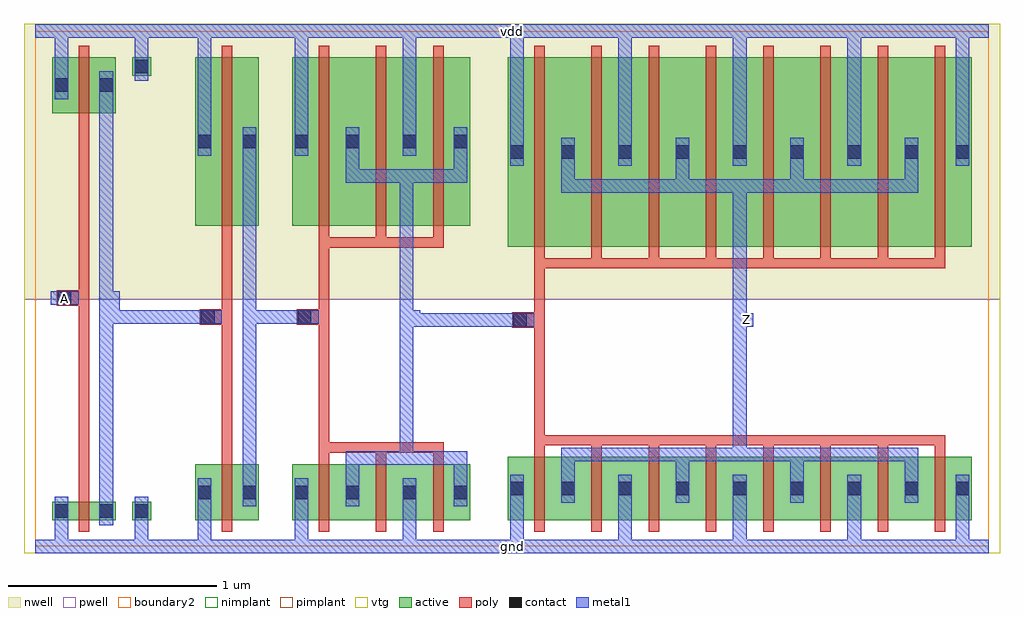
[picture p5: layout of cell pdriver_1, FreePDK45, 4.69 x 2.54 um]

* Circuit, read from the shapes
.subckt pdriver_1 A Z gnd vdd
M1 pinv_7_1/A A gnd gnd nfet w=0.09u l=0.05u
M2 pinv_8_2/A pinv_7_1/A gnd gnd nfet w=0.27u l=0.05u
M3 pinv_9_3/A pinv_8_2/A gnd gnd nfet w=0.27u l=0.05u m=3
M4 Z pinv_9_3/A gnd gnd nfet w=0.305u l=0.05u m=8
M5 pinv_7_1/A A vdd vdd pfet w=0.27u l=0.05u
M6 pinv_8_2/A pinv_7_1/A vdd vdd pfet w=0.81u l=0.05u
M7 pinv_9_3/A pinv_8_2/A vdd vdd pfet w=0.81u l=0.05u m=3
M8 Z pinv_9_3/A vdd vdd pfet w=0.91u l=0.05u m=8
.ends

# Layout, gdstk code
import gdstk
lib = gdstk.Library(unit=1e-6, precision=5e-10)
def R(c, l, rs):  # rectangles x0, y0, x1, y1
    for r in rs: c.add(gdstk.rectangle(r[:2], r[2:], *l))
def A(c, l, x, y, w, h, nx, ny, dx, dy):  # array of equal rectangles
    R(c, l, [(x+i*dx, y+j*dy, x+i*dx+w, y+j*dy+h) for i in range(nx) for j in range(ny)])
active = (1, 0)
pwell = (2, 0)
nwell = (3, 0)
nimplant = (4, 0)
pimplant = (5, 0)
vtg = (6, 0)
poly = (9, 0)
contact = (10, 0)
metal1 = (11, 0)
boundary2 = (239, 0)

contact_9 = lib.new_cell('contact_9')
R(contact_9, active, [(0,0.0225,0.09,0.1125)])
R(contact_9, nwell, [(-0.055,-0.0325,0.145,0.1675)])
R(contact_9, pimplant, [(0,0.0225,0.09,0.1125)])
R(contact_9, contact, [(0.0125,0.035,0.0775,0.1)])
R(contact_9, metal1, [(0.0125,0,0.0775,0.135)])
R(contact_9, boundary2, [(-0.055,-0.0325,0.145,0.1675)])

pmos_m1_w0_270_sm1_dm1_d = lib.new_cell('pmos_m1_w0_270_sm1_dm1_da_p')
R(pmos_m1_w0_270_sm1_dm1_d, active, [(0,0,0.305,0.27)])
R(pmos_m1_w0_270_sm1_dm1_d, nwell, [(-0.08,-0.08,0.385,0.35)])
R(pmos_m1_w0_270_sm1_dm1_d, pimplant, [(0,0,0.305,0.27)])
R(pmos_m1_w0_270_sm1_dm1_d, vtg, [(-0.08,-0.08,0.385,0.35)])
R(pmos_m1_w0_270_sm1_dm1_d, poly, [(0.1275,-0.055,0.1775,0.325), (0.1275,-0.055,0.1775,0.325)])
R(pmos_m1_w0_270_sm1_dm1_d, metal1, [(0.0125,0.0675,0.0775,0.2025), (0.2275,0.0675,0.2925,0.2025)])
R(pmos_m1_w0_270_sm1_dm1_d, boundary2, [(-0.08,-0.08,0.385,0.35)])
pmos_m1_w0_270_sm1_dm1_d.add(gdstk.Reference(contact_9, (0,0.0675)))
pmos_m1_w0_270_sm1_dm1_d.add(gdstk.Reference(contact_9, (0.215,0.0675)))
pmos_m1_w0_270_sm1_dm1_d.add(gdstk.Label('G', (0.1525,0.135), layer=9, texttype=0))
pmos_m1_w0_270_sm1_dm1_d.add(gdstk.Label('S', (0.045,0.135), layer=11, texttype=0))
pmos_m1_w0_270_sm1_dm1_d.add(gdstk.Label('D', (0.26,0.135), layer=11, texttype=0))

contact_14 = lib.new_cell('contact_14')
R(contact_14, active, [(0,0.0225,0.09,0.1125)])
R(contact_14, pwell, [(-0.055,-0.0325,0.145,0.1675)])
R(contact_14, nimplant, [(0,0.0225,0.09,0.1125)])
R(contact_14, contact, [(0.0125,0.035,0.0775,0.1)])
R(contact_14, metal1, [(0.0125,0,0.0775,0.135)])
R(contact_14, boundary2, [(-0.055,-0.0325,0.145,0.1675)])

nmos_m1_w0_090_sm1_dm1_d = lib.new_cell('nmos_m1_w0_090_sm1_dm1_da_p')
R(nmos_m1_w0_090_sm1_dm1_d, active, [(0,0,0.305,0.09)])
R(nmos_m1_w0_090_sm1_dm1_d, pwell, [(-0.08,-0.08,0.385,0.17)])
R(nmos_m1_w0_090_sm1_dm1_d, nimplant, [(0,0,0.305,0.09)])
R(nmos_m1_w0_090_sm1_dm1_d, vtg, [(-0.08,-0.08,0.385,0.17)])
R(nmos_m1_w0_090_sm1_dm1_d, poly, [(0.1275,-0.055,0.1775,0.145), (0.1275,-0.055,0.1775,0.145)])
R(nmos_m1_w0_090_sm1_dm1_d, metal1, [(0.0125,-0.0225,0.0775,0.1125), (0.2275,-0.0225,0.2925,0.1125)])
R(nmos_m1_w0_090_sm1_dm1_d, boundary2, [(-0.08,-0.08,0.385,0.17)])
nmos_m1_w0_090_sm1_dm1_d.add(gdstk.Reference(contact_14, (0,-0.0225)))
nmos_m1_w0_090_sm1_dm1_d.add(gdstk.Reference(contact_14, (0.215,-0.0225)))
nmos_m1_w0_090_sm1_dm1_d.add(gdstk.Label('G', (0.1525,0.045), layer=9, texttype=0))
nmos_m1_w0_090_sm1_dm1_d.add(gdstk.Label('S', (0.045,0.045), layer=11, texttype=0))
nmos_m1_w0_090_sm1_dm1_d.add(gdstk.Label('D', (0.26,0.045), layer=11, texttype=0))

contact_18 = lib.new_cell('contact_18')
R(contact_18, active, [(0,0.0225,0.09,0.1125)])
R(contact_18, nwell, [(-0.055,-0.0325,0.145,0.1675)])
R(contact_18, nimplant, [(0,0.0225,0.09,0.1125)])
R(contact_18, contact, [(0.0125,0.035,0.0775,0.1)])
R(contact_18, metal1, [(0.0125,0,0.0775,0.135)])
R(contact_18, boundary2, [(-0.055,-0.0325,0.145,0.1675)])

contact_19 = lib.new_cell('contact_19')
R(contact_19, active, [(0,0.0225,0.09,0.1125)])
R(contact_19, pwell, [(-0.055,-0.0325,0.145,0.1675)])
R(contact_19, pimplant, [(0,0.0225,0.09,0.1125)])
R(contact_19, contact, [(0.0125,0.035,0.0775,0.1)])
R(contact_19, metal1, [(0.0125,0,0.0775,0.135)])
R(contact_19, boundary2, [(-0.055,-0.0325,0.145,0.1675)])

contact_10 = lib.new_cell('contact_10')
R(contact_10, poly, [(0.03,0,0.105,0.075)])
R(contact_10, contact, [(0.035,0.005,0.1,0.07)])
R(contact_10, metal1, [(0,0.005,0.135,0.07)])
R(contact_10, boundary2, [(0,0,0.135,0.075)])

pinv_1 = lib.new_cell('pinv_1')
R(pinv_1, pwell, [(-0.055,-0.0325,0.7425,1.1875)])
R(pinv_1, nwell, [(-0.055,1.1875,0.7425,2.51)])
R(pinv_1, vtg, [(-0.055,-0.0325,0.7425,1.1875), (-0.055,1.1875,0.7425,2.51)])
R(pinv_1, poly, [(0.2075,0.27,0.2575,2.025), (0.14,1.155,0.2075,1.23)])
R(pinv_1, metal1, [(0,-0.0325,0.6875,0.0325), (0.0925,-0.0325,0.1575,0.1025), (0.4775,0,0.5425,0.17), (0.3075,0.1025,0.3725,2.2825), (0.0725,1.16,0.2075,1.225), (0.34,1.16,0.405,1.225), (0.0925,2.1475,0.1575,2.5075), (0.4775,2.305,0.5425,2.475), (0,2.4425,0.6875,2.5075)])
R(pinv_1, boundary2, [(0,0,0.6875,2.475), (0,0,0.6875,2.475)])
pinv_1.add(gdstk.Reference(pmos_m1_w0_270_sm1_dm1_d, (0.08,2.08)))
pinv_1.add(gdstk.Reference(nmos_m1_w0_090_sm1_dm1_d, (0.08,0.125)))
pinv_1.add(gdstk.Reference(contact_18, (0.465,2.2375)))
pinv_1.add(gdstk.Reference(contact_19, (0.465,0.1025)))
pinv_1.add(gdstk.Reference(contact_10, (0.0725,1.155)))
pinv_1.add(gdstk.Label('A', (0.14,1.1925), layer=11, texttype=0))
pinv_1.add(gdstk.Label('Z', (0.3725,1.1925), layer=11, texttype=0))
pinv_1.add(gdstk.Label('gnd', (0.344,0), layer=11, texttype=0))
pinv_1.add(gdstk.Label('vdd', (0.344,2.475), layer=11, texttype=0))

pmos_m1_w0_810_sm1_dm1_d = lib.new_cell('pmos_m1_w0_810_sm1_dm1_da_p')
R(pmos_m1_w0_810_sm1_dm1_d, active, [(0,0,0.305,0.81)])
R(pmos_m1_w0_810_sm1_dm1_d, nwell, [(-0.08,-0.08,0.385,0.89)])
R(pmos_m1_w0_810_sm1_dm1_d, pimplant, [(0,0,0.305,0.81)])
R(pmos_m1_w0_810_sm1_dm1_d, vtg, [(-0.08,-0.08,0.385,0.89)])
R(pmos_m1_w0_810_sm1_dm1_d, poly, [(0.1275,-0.055,0.1775,0.865), (0.1275,-0.055,0.1775,0.865)])
R(pmos_m1_w0_810_sm1_dm1_d, metal1, [(0.0125,0.3375,0.0775,0.4725), (0.2275,0.3375,0.2925,0.4725)])
R(pmos_m1_w0_810_sm1_dm1_d, boundary2, [(-0.08,-0.08,0.385,0.89)])
pmos_m1_w0_810_sm1_dm1_d.add(gdstk.Reference(contact_9, (0,0.3375)))
pmos_m1_w0_810_sm1_dm1_d.add(gdstk.Reference(contact_9, (0.215,0.3375)))
pmos_m1_w0_810_sm1_dm1_d.add(gdstk.Label('G', (0.1525,0.405), layer=9, texttype=0))
pmos_m1_w0_810_sm1_dm1_d.add(gdstk.Label('S', (0.045,0.405), layer=11, texttype=0))
pmos_m1_w0_810_sm1_dm1_d.add(gdstk.Label('D', (0.26,0.405), layer=11, texttype=0))

nmos_m1_w0_270_sm1_dm1_d = lib.new_cell('nmos_m1_w0_270_sm1_dm1_da_p')
R(nmos_m1_w0_270_sm1_dm1_d, active, [(0,0,0.305,0.27)])
R(nmos_m1_w0_270_sm1_dm1_d, pwell, [(-0.08,-0.08,0.385,0.35)])
R(nmos_m1_w0_270_sm1_dm1_d, nimplant, [(0,0,0.305,0.27)])
R(nmos_m1_w0_270_sm1_dm1_d, vtg, [(-0.08,-0.08,0.385,0.35)])
R(nmos_m1_w0_270_sm1_dm1_d, poly, [(0.1275,-0.055,0.1775,0.325), (0.1275,-0.055,0.1775,0.325)])
R(nmos_m1_w0_270_sm1_dm1_d, metal1, [(0.0125,0.0675,0.0775,0.2025), (0.2275,0.0675,0.2925,0.2025)])
R(nmos_m1_w0_270_sm1_dm1_d, boundary2, [(-0.08,-0.08,0.385,0.35)])
nmos_m1_w0_270_sm1_dm1_d.add(gdstk.Reference(contact_14, (0,0.0675)))
nmos_m1_w0_270_sm1_dm1_d.add(gdstk.Reference(contact_14, (0.215,0.0675)))
nmos_m1_w0_270_sm1_dm1_d.add(gdstk.Label('G', (0.1525,0.135), layer=9, texttype=0))
nmos_m1_w0_270_sm1_dm1_d.add(gdstk.Label('S', (0.045,0.135), layer=11, texttype=0))
nmos_m1_w0_270_sm1_dm1_d.add(gdstk.Label('D', (0.26,0.135), layer=11, texttype=0))

pinv_7 = lib.new_cell('pinv_7')
R(pinv_7, pwell, [(-0.055,-0.0325,0.52,1.1875)])
R(pinv_7, nwell, [(-0.055,1.1875,0.52,2.51)])
R(pinv_7, vtg, [(-0.055,-0.0325,0.52,1.1875), (-0.055,1.1875,0.52,2.51)])
R(pinv_7, poly, [(0.2075,0.45,0.2575,1.485), (0.14,1.065,0.2075,1.14)])
R(pinv_7, metal1, [(0,-0.0325,0.465,0.0325), (0.0925,-0.0325,0.1575,0.1925), (0.3075,0.1925,0.3725,2.0125), (0.0725,1.07,0.2075,1.135), (0.34,1.07,0.405,1.135), (0.0925,1.8775,0.1575,2.5075), (0,2.4425,0.465,2.5075)])
R(pinv_7, boundary2, [(0,0,0.465,2.475), (0,0,0.465,2.475)])
pinv_7.add(gdstk.Reference(pmos_m1_w0_810_sm1_dm1_d, (0.08,1.54)))
pinv_7.add(gdstk.Reference(nmos_m1_w0_270_sm1_dm1_d, (0.08,0.125)))
pinv_7.add(gdstk.Reference(contact_10, (0.0725,1.065)))
pinv_7.add(gdstk.Label('A', (0.14,1.1025), layer=11, texttype=0))
pinv_7.add(gdstk.Label('Z', (0.3725,1.1025), layer=11, texttype=0))
pinv_7.add(gdstk.Label('gnd', (0.2325,0), layer=11, texttype=0))
pinv_7.add(gdstk.Label('vdd', (0.2325,2.475), layer=11, texttype=0))

pmos_m3_w0_810_sm1_dm1_d = lib.new_cell('pmos_m3_w0_810_sm1_dm1_da_p')
R(pmos_m3_w0_810_sm1_dm1_d, active, [(0,0,0.855,0.81)])
R(pmos_m3_w0_810_sm1_dm1_d, nwell, [(-0.08,-0.08,0.935,0.89)])
R(pmos_m3_w0_810_sm1_dm1_d, pimplant, [(0,0,0.855,0.81)])
R(pmos_m3_w0_810_sm1_dm1_d, vtg, [(-0.08,-0.08,0.935,0.89)])
A(pmos_m3_w0_810_sm1_dm1_d, poly, 0.1275, -0.055, 0.05, 0.92, 3, 1, 0.275, 0)
R(pmos_m3_w0_810_sm1_dm1_d, poly, [(0.1275,-0.105,0.7275,-0.055)])
R(pmos_m3_w0_810_sm1_dm1_d, metal1, [(0.2575,0.2075,0.8425,0.2725), (0.2575,0.24,0.3225,0.405), (0.7775,0.24,0.8425,0.405), (0.0125,0.3375,0.0775,0.4725), (0.5325,0.3375,0.5975,0.4725)])
R(pmos_m3_w0_810_sm1_dm1_d, boundary2, [(-0.08,-0.08,0.935,0.89)])
pmos_m3_w0_810_sm1_dm1_d.add(gdstk.Reference(contact_9, (0,0.3375)))
pmos_m3_w0_810_sm1_dm1_d.add(gdstk.Reference(contact_9, (0.245,0.3375)))
pmos_m3_w0_810_sm1_dm1_d.add(gdstk.Reference(contact_9, (0.52,0.3375)))
pmos_m3_w0_810_sm1_dm1_d.add(gdstk.Reference(contact_9, (0.765,0.3375)))
pmos_m3_w0_810_sm1_dm1_d.add(gdstk.Label('G', (0.4275,-0.08), layer=9, texttype=0))
pmos_m3_w0_810_sm1_dm1_d.add(gdstk.Label('S', (0.045,0.405), layer=11, texttype=0))
pmos_m3_w0_810_sm1_dm1_d.add(gdstk.Label('S', (0.565,0.405), layer=11, texttype=0))
pmos_m3_w0_810_sm1_dm1_d.add(gdstk.Label('D', (0.55,0.24), layer=11, texttype=0))

nmos_m3_w0_270_sm1_dm1_d = lib.new_cell('nmos_m3_w0_270_sm1_dm1_da_p')
R(nmos_m3_w0_270_sm1_dm1_d, active, [(0,0,0.855,0.27)])
R(nmos_m3_w0_270_sm1_dm1_d, pwell, [(-0.08,-0.08,0.935,0.35)])
R(nmos_m3_w0_270_sm1_dm1_d, nimplant, [(0,0,0.855,0.27)])
R(nmos_m3_w0_270_sm1_dm1_d, vtg, [(-0.08,-0.08,0.935,0.35)])
A(nmos_m3_w0_270_sm1_dm1_d, poly, 0.1275, -0.055, 0.05, 0.38, 3, 1, 0.275, 0)
R(nmos_m3_w0_270_sm1_dm1_d, poly, [(0.1275,0.325,0.7275,0.375)])
R(nmos_m3_w0_270_sm1_dm1_d, metal1, [(0.0125,0.0675,0.0775,0.2025), (0.5325,0.0675,0.5975,0.2025), (0.2575,0.135,0.3225,0.3), (0.7775,0.135,0.8425,0.3), (0.2575,0.2675,0.8425,0.3325)])
R(nmos_m3_w0_270_sm1_dm1_d, boundary2, [(-0.08,-0.08,0.935,0.35)])
nmos_m3_w0_270_sm1_dm1_d.add(gdstk.Reference(contact_14, (0,0.0675)))
nmos_m3_w0_270_sm1_dm1_d.add(gdstk.Reference(contact_14, (0.245,0.0675)))
nmos_m3_w0_270_sm1_dm1_d.add(gdstk.Reference(contact_14, (0.52,0.0675)))
nmos_m3_w0_270_sm1_dm1_d.add(gdstk.Reference(contact_14, (0.765,0.0675)))
nmos_m3_w0_270_sm1_dm1_d.add(gdstk.Label('G', (0.4275,0.35), layer=9, texttype=0))
nmos_m3_w0_270_sm1_dm1_d.add(gdstk.Label('S', (0.045,0.135), layer=11, texttype=0))
nmos_m3_w0_270_sm1_dm1_d.add(gdstk.Label('S', (0.565,0.135), layer=11, texttype=0))
nmos_m3_w0_270_sm1_dm1_d.add(gdstk.Label('D', (0.55,0.3), layer=11, texttype=0))

pinv_8 = lib.new_cell('pinv_8')
R(pinv_8, pwell, [(-0.055,-0.0325,1.09,1.1875)])
R(pinv_8, nwell, [(-0.055,1.1875,1.09,2.51)])
R(pinv_8, vtg, [(-0.055,-0.0325,1.09,1.1875), (-0.055,1.1875,1.09,2.51)])
R(pinv_8, poly, [(0.2075,0.5,0.2575,1.435), (0.14,1.065,0.2075,1.14)])
R(pinv_8, metal1, [(0,-0.0325,1.035,0.0325), (0.0925,-0.0325,0.1575,0.1925), (0.6125,-0.0325,0.6775,0.1925), (0.5975,0.3925,0.6625,1.8125), (0.0725,1.07,0.2075,1.135), (0.63,1.07,0.695,1.135), (0.0925,1.8775,0.1575,2.5075), (0.6125,1.8775,0.6775,2.5075), (0,2.4425,1.035,2.5075)])
R(pinv_8, boundary2, [(0,0,1.035,2.475), (0,0,1.035,2.475)])
pinv_8.add(gdstk.Reference(pmos_m3_w0_810_sm1_dm1_d, (0.08,1.54)))
pinv_8.add(gdstk.Reference(nmos_m3_w0_270_sm1_dm1_d, (0.08,0.125)))
pinv_8.add(gdstk.Reference(contact_10, (0.0725,1.065)))
pinv_8.add(gdstk.Label('A', (0.14,1.1025), layer=11, texttype=0))
pinv_8.add(gdstk.Label('Z', (0.6625,1.1025), layer=11, texttype=0))
pinv_8.add(gdstk.Label('gnd', (0.5175,0), layer=11, texttype=0))
pinv_8.add(gdstk.Label('vdd', (0.5175,2.475), layer=11, texttype=0))

pmos_m8_w0_910_sm1_dm1_d = lib.new_cell('pmos_m8_w0_910_sm1_dm1_da_p')
R(pmos_m8_w0_910_sm1_dm1_d, active, [(0,0,2.23,0.91)])
R(pmos_m8_w0_910_sm1_dm1_d, nwell, [(-0.08,-0.08,2.31,0.99)])
R(pmos_m8_w0_910_sm1_dm1_d, pimplant, [(0,0,2.23,0.91)])
R(pmos_m8_w0_910_sm1_dm1_d, vtg, [(-0.08,-0.08,2.31,0.99)])
A(pmos_m8_w0_910_sm1_dm1_d, poly, 0.1275, -0.055, 0.05, 1.02, 8, 1, 0.275, 0)
R(pmos_m8_w0_910_sm1_dm1_d, poly, [(0.1275,-0.105,2.1025,-0.055)])
A(pmos_m8_w0_910_sm1_dm1_d, metal1, 0.2575, 0.29, 0.065, 0.165, 4, 1, 0.55, 0)
A(pmos_m8_w0_910_sm1_dm1_d, metal1, 0.5325, 0.3875, 0.065, 0.135, 3, 1, 0.55, 0)
R(pmos_m8_w0_910_sm1_dm1_d, metal1, [(0.2575,0.2575,1.9725,0.3225), (0.0125,0.3875,0.0775,0.5225), (2.1525,0.3875,2.2175,0.5225)])
R(pmos_m8_w0_910_sm1_dm1_d, boundary2, [(-0.08,-0.08,2.31,0.99)])
pmos_m8_w0_910_sm1_dm1_d.add(gdstk.Reference(contact_9, (0,0.3875)))
pmos_m8_w0_910_sm1_dm1_d.add(gdstk.Reference(contact_9, (0.245,0.3875)))
pmos_m8_w0_910_sm1_dm1_d.add(gdstk.Reference(contact_9, (0.52,0.3875)))
pmos_m8_w0_910_sm1_dm1_d.add(gdstk.Reference(contact_9, (0.795,0.3875)))
pmos_m8_w0_910_sm1_dm1_d.add(gdstk.Reference(contact_9, (1.07,0.3875)))
pmos_m8_w0_910_sm1_dm1_d.add(gdstk.Reference(contact_9, (1.345,0.3875)))
pmos_m8_w0_910_sm1_dm1_d.add(gdstk.Reference(contact_9, (1.62,0.3875)))
pmos_m8_w0_910_sm1_dm1_d.add(gdstk.Reference(contact_9, (1.895,0.3875)))
pmos_m8_w0_910_sm1_dm1_d.add(gdstk.Reference(contact_9, (2.14,0.3875)))
pmos_m8_w0_910_sm1_dm1_d.add(gdstk.Label('G', (1.115,-0.08), layer=9, texttype=0))
pmos_m8_w0_910_sm1_dm1_d.add(gdstk.Label('S', (1.115,0.455), layer=11, texttype=0))
pmos_m8_w0_910_sm1_dm1_d.add(gdstk.Label('S', (0.565,0.455), layer=11, texttype=0))
pmos_m8_w0_910_sm1_dm1_d.add(gdstk.Label('S', (2.185,0.455), layer=11, texttype=0))
pmos_m8_w0_910_sm1_dm1_d.add(gdstk.Label('S', (0.045,0.455), layer=11, texttype=0))
pmos_m8_w0_910_sm1_dm1_d.add(gdstk.Label('S', (1.665,0.455), layer=11, texttype=0))
pmos_m8_w0_910_sm1_dm1_d.add(gdstk.Label('D', (1.115,0.29), layer=11, texttype=0))

nmos_m8_w0_305_sm1_dm1_d = lib.new_cell('nmos_m8_w0_305_sm1_dm1_da_p')
R(nmos_m8_w0_305_sm1_dm1_d, active, [(0,0,2.23,0.305)])
R(nmos_m8_w0_305_sm1_dm1_d, pwell, [(-0.08,-0.08,2.31,0.385)])
R(nmos_m8_w0_305_sm1_dm1_d, nimplant, [(0,0,2.23,0.305)])
R(nmos_m8_w0_305_sm1_dm1_d, vtg, [(-0.08,-0.08,2.31,0.385)])
A(nmos_m8_w0_305_sm1_dm1_d, poly, 0.1275, -0.055, 0.05, 0.415, 8, 1, 0.275, 0)
R(nmos_m8_w0_305_sm1_dm1_d, poly, [(0.1275,0.36,2.1025,0.41)])
A(nmos_m8_w0_305_sm1_dm1_d, metal1, 0.5325, 0.085, 0.065, 0.135, 3, 1, 0.55, 0)
A(nmos_m8_w0_305_sm1_dm1_d, metal1, 0.2575, 0.1525, 0.065, 0.165, 4, 1, 0.55, 0)
R(nmos_m8_w0_305_sm1_dm1_d, metal1, [(0.0125,0.085,0.0775,0.22), (2.1525,0.085,2.2175,0.22), (0.2575,0.285,1.9725,0.35)])
R(nmos_m8_w0_305_sm1_dm1_d, boundary2, [(-0.08,-0.08,2.31,0.385)])
nmos_m8_w0_305_sm1_dm1_d.add(gdstk.Reference(contact_14, (0,0.085)))
nmos_m8_w0_305_sm1_dm1_d.add(gdstk.Reference(contact_14, (0.245,0.085)))
nmos_m8_w0_305_sm1_dm1_d.add(gdstk.Reference(contact_14, (0.52,0.085)))
nmos_m8_w0_305_sm1_dm1_d.add(gdstk.Reference(contact_14, (0.795,0.085)))
nmos_m8_w0_305_sm1_dm1_d.add(gdstk.Reference(contact_14, (1.07,0.085)))
nmos_m8_w0_305_sm1_dm1_d.add(gdstk.Reference(contact_14, (1.345,0.085)))
nmos_m8_w0_305_sm1_dm1_d.add(gdstk.Reference(contact_14, (1.62,0.085)))
nmos_m8_w0_305_sm1_dm1_d.add(gdstk.Reference(contact_14, (1.895,0.085)))
nmos_m8_w0_305_sm1_dm1_d.add(gdstk.Reference(contact_14, (2.14,0.085)))
nmos_m8_w0_305_sm1_dm1_d.add(gdstk.Label('G', (1.115,0.385), layer=9, texttype=0))
nmos_m8_w0_305_sm1_dm1_d.add(gdstk.Label('S', (1.115,0.1525), layer=11, texttype=0))
nmos_m8_w0_305_sm1_dm1_d.add(gdstk.Label('S', (0.045,0.1525), layer=11, texttype=0))
nmos_m8_w0_305_sm1_dm1_d.add(gdstk.Label('S', (0.565,0.1525), layer=11, texttype=0))
nmos_m8_w0_305_sm1_dm1_d.add(gdstk.Label('S', (2.185,0.1525), layer=11, texttype=0))
nmos_m8_w0_305_sm1_dm1_d.add(gdstk.Label('S', (1.665,0.1525), layer=11, texttype=0))
nmos_m8_w0_305_sm1_dm1_d.add(gdstk.Label('D', (1.115,0.3175), layer=11, texttype=0))

pinv_9 = lib.new_cell('pinv_9')
R(pinv_9, pwell, [(-0.055,-0.0325,2.445,1.1875)])
R(pinv_9, nwell, [(-0.055,1.1875,2.445,2.51)])
R(pinv_9, vtg, [(-0.055,-0.0325,2.445,1.1875), (-0.055,1.1875,2.445,2.51)])
R(pinv_9, poly, [(0.2075,0.535,0.2575,1.335), (0.14,1.05,0.2075,1.125)])
A(pinv_9, metal1, 0.6125, -0.0325, 0.065, 0.2425, 3, 1, 0.55, 0)
A(pinv_9, metal1, 0.6125, 1.8275, 0.065, 0.68, 3, 1, 0.55, 0)
R(pinv_9, metal1, [(0,-0.0325,2.39,0.0325), (0.0925,-0.0325,0.1575,0.21), (2.2325,-0.0325,2.2975,0.21), (1.1625,0.41,1.2275,1.7625), (0.0725,1.055,0.2075,1.12), (1.195,1.055,1.26,1.12), (0.0925,1.8275,0.1575,2.5075), (2.2325,1.8275,2.2975,2.5075), (0,2.4425,2.39,2.5075)])
R(pinv_9, boundary2, [(0,0,2.39,2.475), (0,0,2.39,2.475)])
pinv_9.add(gdstk.Reference(pmos_m8_w0_910_sm1_dm1_d, (0.08,1.44)))
pinv_9.add(gdstk.Reference(nmos_m8_w0_305_sm1_dm1_d, (0.08,0.125)))
pinv_9.add(gdstk.Reference(contact_10, (0.0725,1.05)))
pinv_9.add(gdstk.Label('A', (0.14,1.0875), layer=11, texttype=0))
pinv_9.add(gdstk.Label('Z', (1.2275,1.0875), layer=11, texttype=0))
pinv_9.add(gdstk.Label('gnd', (1.195,0), layer=11, texttype=0))
pinv_9.add(gdstk.Label('vdd', (1.195,2.475), layer=11, texttype=0))

pdriver_1 = lib.new_cell('pdriver_1')
R(pdriver_1, pwell, [(-0.055,-0.0325,4.6325,1.1875)])
R(pdriver_1, nwell, [(-0.055,1.1875,4.6325,2.51)])
R(pdriver_1, vtg, [(-0.055,-0.0325,4.6325,1.1875), (-0.055,1.1875,4.6325,2.51)])
R(pdriver_1, metal1, [(0,-0.0325,4.5775,0.0325), (1.7825,1.055,1.8475,1.12), (1.815,1.055,2.3275,1.12), (3.3825,1.055,3.4475,1.12), (0.34,1.07,0.405,1.135), (0.3725,1.07,0.8275,1.135), (1.06,1.07,1.2925,1.135), (1.7825,1.0875,1.8475,1.1025), (0.34,1.1025,0.405,1.1925), (0.0725,1.16,0.2075,1.225), (0,2.4425,4.5775,2.5075)])
R(pdriver_1, boundary2, [(0,0,4.5775,2.475), (0,0,4.5775,2.475)])
pdriver_1.add(gdstk.Reference(pinv_1, (0,0)))
pdriver_1.add(gdstk.Reference(pinv_7, (0.6875,0)))
pdriver_1.add(gdstk.Reference(pinv_8, (1.1525,0)))
pdriver_1.add(gdstk.Reference(pinv_9, (2.1875,0)))
pdriver_1.add(gdstk.Label('Z', (3.415,1.0875), layer=11, texttype=0))
pdriver_1.add(gdstk.Label('A', (0.14,1.1925), layer=11, texttype=0))
pdriver_1.add(gdstk.Label('gnd', (2.289,0), layer=11, texttype=0))
pdriver_1.add(gdstk.Label('vdd', (2.289,2.475), layer=11, texttype=0))

lib.write_gds('pdriver_1.gds')
